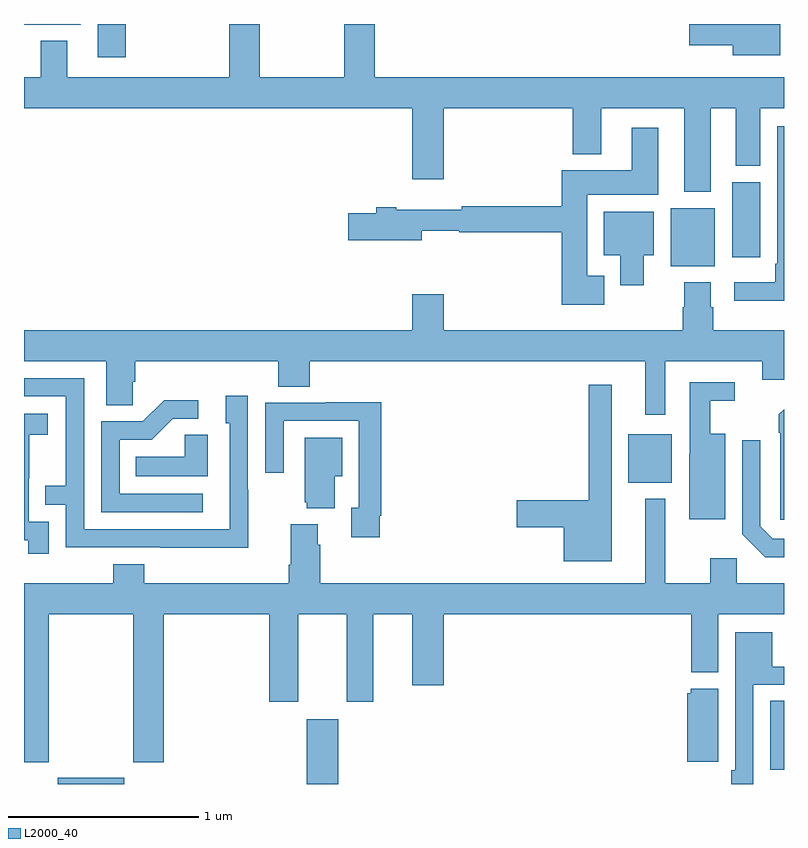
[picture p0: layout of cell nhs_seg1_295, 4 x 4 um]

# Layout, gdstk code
import gdstk
lib = gdstk.Library(unit=1e-6, precision=1e-09)
def R(c, l, rs):  # rectangles x0, y0, x1, y1
    for r in rs: c.add(gdstk.rectangle(r[:2], r[2:], *l))
def P(c, l, *ps):  # polygons
    for p in ps: c.add(gdstk.Polygon(p, *l))
L2000_40 = (2000, 40)

nhs_seg1_295 = lib.new_cell('nhs_seg1_295')
R(nhs_seg1_295, L2000_40, [(127.178,524.199,127.528,524.233), (128.489,524.199,128.653,524.539), (130.928,524.274,131,524.636), (130.181,525.785,130.408,526.039), (130.403,526.925,130.636,527.23), (130.727,526.971,130.876,527.367), (127.388,528.024,127.535,528.199), (127,528.195,127.299,528.199)])
P(nhs_seg1_295, L2000_40, [(130.981,528.199),(130.5,528.199),(130.5,528.086),(130.73,528.086),(130.73,528.035),(130.981,528.035)],
  [(130.615,527.756),(130.745,527.756),(130.745,527.452),(130.876,527.452),(130.876,527.756),(131,527.756),(131,527.92),(128.846,527.92),(128.846,528.199),(128.686,528.199),(128.686,527.92),(128.241,527.92),(128.241,528.199),(128.081,528.199),(128.081,527.92),(127.228,527.92),(127.228,528.11),(127.088,528.11),(127.088,527.92),(127,527.92),(127,527.756),(129.044,527.756),(129.044,527.382),(129.208,527.382),(129.208,527.756),(129.887,527.756),(129.887,527.513),(130.039,527.513),(130.039,527.756),(130.475,527.756),(130.475,527.315),(130.615,527.315)],
  [(131,527.662),(130.965,527.662),(130.965,526.936),(130.953,526.936),(130.953,526.84),(130.737,526.84),(130.737,526.742),(131,526.742)],
  [(130.054,526.873),(129.964,526.873),(129.964,527.3),(130.339,527.3),(130.339,527.653),(130.199,527.653),(130.199,527.428),(129.83,527.428),(129.83,527.24),(129.304,527.24),(129.304,527.221),(128.959,527.221),(128.959,527.234),(128.855,527.234),(128.855,527.204),(128.706,527.204),(128.706,527.062),(129.094,527.062),(129.094,527.112),(129.29,527.112),(129.29,527.104),(129.83,527.104),(129.83,526.721),(130.054,526.721)],
  [(130.261,526.982),(130.315,526.982),(130.315,527.212),(130.052,527.212),(130.052,526.982),(130.139,526.982),(130.139,526.824),(130.261,526.824)],
  [(130.375,526.424),(130.886,526.424),(130.886,526.326),(131,526.326),(131,526.588),(130.628,526.588),(130.628,526.709),(130.615,526.709),(130.615,526.84),(130.475,526.84),(130.475,526.709),(130.468,526.709),(130.468,526.588),(129.208,526.588),(129.208,526.777),(129.044,526.777),(129.044,526.588),(127,526.588),(127,526.424),(127.433,526.424),(127.433,526.192),(127.572,526.192),(127.572,526.315),(127.586,526.315),(127.586,526.424),(128.339,526.424),(128.339,526.291),(128.504,526.291),(128.504,526.424),(130.271,526.424),(130.271,526.143),(130.375,526.143)],
  [(128.181,525.749),(128.178,525.749),(128.178,526.243),(128.063,526.243),(128.063,526.098),(128.082,526.098),(128.082,525.54),(127.317,525.54),(127.317,526.335),(127,526.335),(127,526.239),(127.221,526.239),(127.221,525.77),(127.111,525.77),(127.111,525.669),(127.221,525.669),(127.221,525.444),(127.717,525.444),(127.717,525.443),(128.181,525.443)],
  [(130.69,526.042),(130.612,526.042),(130.612,526.217),(130.741,526.217),(130.741,526.314),(130.503,526.314),(130.503,525.938),(130.502,525.938),(130.502,525.593),(130.69,525.593)],
  [(130.093,526.3),(129.972,526.3),(129.972,525.692),(129.594,525.692),(129.594,525.55),(129.842,525.55),(129.842,525.371),(130.093,525.371)],
  [(127.942,525.726),(127.503,525.726),(127.503,526.011),(127.672,526.011),(127.783,526.122),(127.918,526.122),(127.918,526.22),(127.739,526.22),(127.626,526.107),(127.407,526.107),(127.407,525.63),(127.942,525.63)],
  [(128.872,525.61),(128.879,525.61),(128.879,526.208),(128.587,526.208),(128.587,526.206),(128.271,526.206),(128.271,525.837),(128.367,525.837),(128.367,526.11),(128.763,526.11),(128.763,525.654),(128.723,525.654),(128.723,525.498),(128.872,525.498)],
  [(131,526.171),(130.973,526.144),(130.973,526.049),(130.98,526.049),(130.98,525.591),(131,525.591)],
  [(127.131,525.579),(127.026,525.579),(127.026,525.809),(127.028,525.809),(127.028,526.037),(127.126,526.037),(127.126,526.147),(127,526.147),(127,525.481),(127.023,525.481),(127.023,525.411),(127.131,525.411)],
  [(127.966,526.037),(127.845,526.037),(127.845,525.922),(127.588,525.922),(127.588,525.818),(127.966,525.818)],
  [(128.635,525.818),(128.674,525.818),(128.674,526.021),(128.477,526.021),(128.477,525.681),(128.489,525.681),(128.489,525.65),(128.635,525.65)],
  [(131,525.489),(130.941,525.489),(130.875,525.555),(130.875,526.009),(130.779,526.009),(130.779,525.513),(130.9,525.392),(131,525.392)],
  [(128.443,525.092),(128.699,525.092),(128.699,524.631),(128.839,524.631),(128.839,525.092),(129.044,525.092),(129.044,524.718),(129.208,524.718),(129.208,525.092),(130.511,525.092),(130.511,524.786),(130.654,524.786),(130.654,525.092),(131,525.092),(131,525.256),(130.752,525.256),(130.752,525.388),(130.613,525.388),(130.613,525.256),(130.375,525.256),(130.375,525.7),(130.271,525.7),(130.271,525.256),(128.558,525.256),(128.558,525.458),(128.545,525.458),(128.545,525.565),(128.405,525.565),(128.405,525.352),(128.393,525.352),(128.393,525.256),(127.634,525.256),(127.634,525.355),(127.469,525.355),(127.469,525.256),(127,525.256),(127,524.313),(127.131,524.313),(127.131,525.092),(127.576,525.092),(127.576,524.313),(127.736,524.313),(127.736,525.092),(128.291,525.092),(128.291,524.631),(128.443,524.631)],
  [(130.839,524.721),(131,524.721),(131,524.817),(130.939,524.817),(130.939,524.998),(130.743,524.998),(130.743,524.272),(130.723,524.272),(130.723,524.199),(130.839,524.199)],
  [(130.654,524.701),(130.509,524.701),(130.509,524.676),(130.49,524.676),(130.49,524.315),(130.654,524.315)])

lib.write_gds('nhs_seg1_295.gds')
